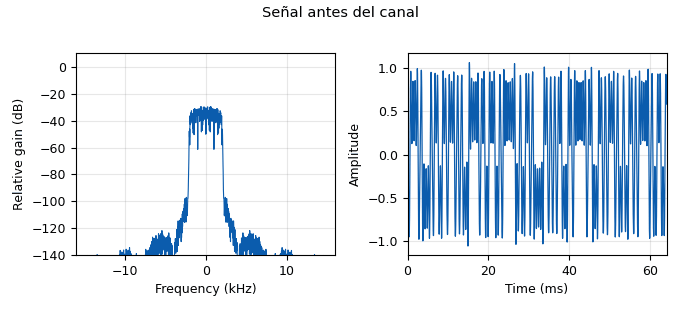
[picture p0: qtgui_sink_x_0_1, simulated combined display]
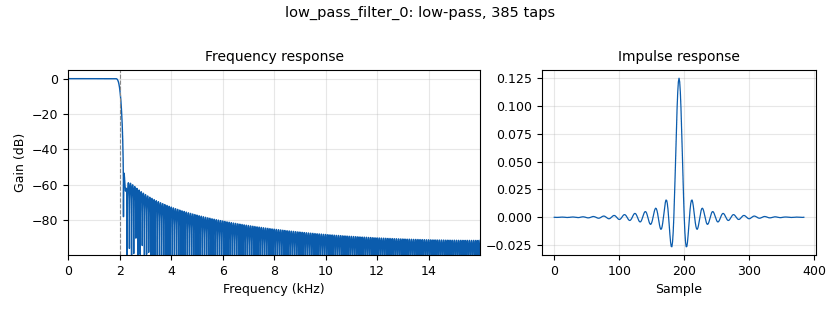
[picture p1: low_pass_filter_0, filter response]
options:
  parameters:
    generate_options: qt_gui
    id: digital_baseband
    output_language: python
    title: Not titled yet
  states: {}

blocks:
- name: bandwidth
  id: variable_qtgui_dial_control
  parameters:
    gui_hint: '[0,5,1,1]'
    label: Bandwidth
    maximum: '80'
    minimum: '5'
    relBackgroundColor: teal
    scaleFactor: '100'
    showvalue: 'True'
    type: real
    value: '2000'
  states: {}
- name: noise
  id: variable_qtgui_dial_control
  parameters:
    gui_hint: '[1,5,1,1]'
    label: Noise
    maximum: '100'
    minimum: '0'
    scaleFactor: '.002'
    showvalue: 'True'
    type: real
    value: '0'
  states: {}
- name: samp_rate
  id: variable
  parameters:
    value: '32000'
  states: {}
- name: sps
  id: variable
  parameters:
    value: '16'
  states: {}
- name: analog_noise_source_x_0
  id: analog_noise_source_x
  parameters:
    amp: noise
    noise_type: analog.GR_GAUSSIAN
    seed: '0'
    type: float
  states: {state: disabled}
- name: analog_random_source_x_0
  id: analog_random_source_x
  parameters:
    max: '2'
    min: '0'
    num_samps: '128'
    repeat: 'True'
    type: byte
  states: {}
- name: blocks_add_xx_0
  id: blocks_add_xx
  parameters:
    type: float
  states: {state: disabled}
- name: blocks_char_to_float_0
  id: blocks_char_to_float
  parameters:
    scale: '1'
  states: {}
- name: blocks_delay_0
  id: blocks_delay
  parameters:
    delay: '0'
    type: float
  states: {state: disabled}
- name: blocks_repeat_0
  id: blocks_repeat
  parameters:
    interp: '8'
    type: float
  states: {}
- name: blocks_throttle2_0
  id: blocks_throttle2
  parameters:
    samples_per_second: samp_rate
    type: float
  states: {}
- name: blocks_vector_insert_x_0
  id: blocks_vector_insert_x
  parameters:
    offset: '0'
    period: sps
    type: float
    vector: numpy.zeros(sps//2)
  states: {}
- name: digital_map_bb_0
  id: digital_map_bb
  parameters:
    map: '[-1,1]'
  states: {}
- name: fir_filter_xxx_0
  id: fir_filter_xxx
  parameters:
    decim: '1'
    taps: '[1.0 / 8] * 8'
    type: fff
  states: {state: disabled}
- name: low_pass_filter_0
  id: low_pass_filter
  parameters:
    cutoff_freq: bandwidth
    decim: '1'
    gain: '1'
    samp_rate: samp_rate
    type: fir_filter_fff
    width: bandwidth/10
    win: window.WIN_HAMMING
  states: {}
- name: qtgui_eye_sink_x_0_0
  id: qtgui_eye_sink_x
  parameters:
    color2: red
    label1: Antes del FIR
    label2: Despues del FIR
    nconnections: '2'
    samp_per_symbol: '16'
    size: '1024'
    srate: samp_rate
    type: float
  states: {state: disabled}
- name: qtgui_sink_x_0
  id: qtgui_sink_x
  parameters:
    bw: samp_rate
    fc: '0'
    fftsize: '2048'
    name: '"Señal de transmisión"'
    plotwaterfall: 'False'
    type: float
    wintype: window.WIN_HAMMING
  states: {state: disabled}
- name: qtgui_sink_x_0_0
  id: qtgui_sink_x
  parameters:
    bw: samp_rate
    fc: '0'
    fftsize: '2048'
    name: '"Señal de recepción"'
    showrf: 'True'
    type: float
  states: {state: disabled}
- name: qtgui_sink_x_0_1
  id: qtgui_sink_x
  parameters:
    bw: samp_rate
    fc: '0'
    fftsize: '2048'
    name: '"Señal antes del canal"'
    type: float
  states: {}
- name: qtgui_time_sink_x_0
  id: qtgui_time_sink_x
  parameters:
    label1: Antes del Filtro
    label2: Después del Filtro
    nconnections: '2'
    size: '2048'
    srate: samp_rate
    type: float
  states: {state: disabled}
- name: qtgui_time_sink_x_0_0
  id: qtgui_time_sink_x
  parameters:
    color1: red
    size: '2048'
    srate: samp_rate
    type: float
  states: {state: disabled}

connections:
- [analog_noise_source_x_0, '0', blocks_add_xx_0, '1']
- [analog_random_source_x_0, '0', digital_map_bb_0, '0']
- [blocks_add_xx_0, '0', blocks_delay_0, '0']
- [blocks_add_xx_0, '0', fir_filter_xxx_0, '0']
- [blocks_add_xx_0, '0', qtgui_sink_x_0_0, '0']
- [blocks_char_to_float_0, '0', blocks_repeat_0, '0']
- [blocks_delay_0, '0', qtgui_eye_sink_x_0_0, '0']
- [blocks_delay_0, '0', qtgui_time_sink_x_0, '0']
- [blocks_repeat_0, '0', blocks_vector_insert_x_0, '0']
- [blocks_throttle2_0, '0', low_pass_filter_0, '0']
- [blocks_vector_insert_x_0, '0', blocks_throttle2_0, '0']
- [digital_map_bb_0, '0', blocks_char_to_float_0, '0']
- [fir_filter_xxx_0, '0', qtgui_eye_sink_x_0_0, '1']
- [fir_filter_xxx_0, '0', qtgui_sink_x_0, '0']
- [fir_filter_xxx_0, '0', qtgui_sink_x_0_0, '0']
- [fir_filter_xxx_0, '0', qtgui_time_sink_x_0, '1']
- [fir_filter_xxx_0, '0', qtgui_time_sink_x_0_0, '0']
- [low_pass_filter_0, '0', blocks_add_xx_0, '0']
- [low_pass_filter_0, '0', qtgui_sink_x_0_1, '0']

metadata:
  file_format: 1
  grc_version: 3.10.10.0
